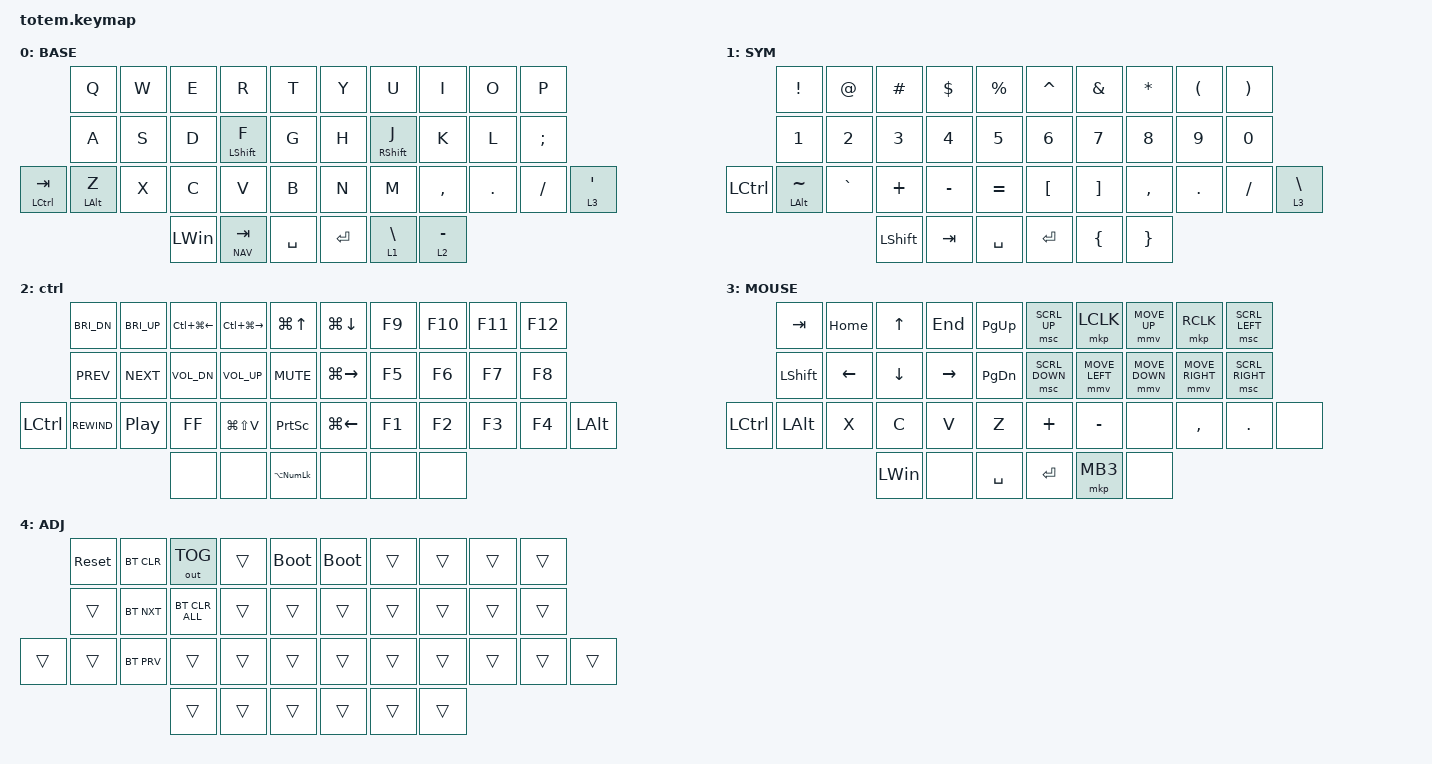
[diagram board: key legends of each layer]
//
//                                                        ▀▀▀▀▀     ▀▀▀▀▀          ▀▀█▀▀
//                                                        ▄▀▀▀▄  ▄  ▄▀▀▀▄  ▄  ▄▀▀▀▄  █  ▄▀▀▀▄
//                                                        █   █  █  █   █  █  █   █  █  █   █
//                                                         ▀▀▀   █   ▀▀▀   █   ▀▀▀   ▀   ▀▀▀
//                                                               █      ▄▄▄█▄▄▄    █   █
//                                                               ▀      █  █  █     █▄█
//                                                             ▀▀▀▀▀    █  █  █      ▀
//                                                                      ▀  ▀  ▀
//
// ▄▄▄▄▄▄▄▄▄▄▄▄▄▄▄▄▄▄▄▄▄▄▄▄▄▄▄▄▄▄▄▄▄▄▄▄▄▄▄▄▄▄▄▄▄▄▄▄▄▄▄▄▄▄▄▄▄▄▄▄▄▄▄▄▄▄▄▄▄▄▄▄▄▄▄▄▄▄▄▄▄▄▄▄▄▄▄▄▄▄▄▄▄▄▄▄▄▄▄▄▄▄▄▄▄▄▄▄▄▄▄▄▄▄▄▄▄▄▄▄▄▄▄▄▄▄▄▄▄▄▄▄▄▄▄▄▄▄▄▄▄▄▄▄▄▄▄▄▄

#include <behaviors.dtsi>
#include <dt-bindings/zmk/bt.h>
#include <dt-bindings/zmk/keys.h>
#include <dt-bindings/zmk/outputs.h>
#include <dt-bindings/zmk/pointing.h>

#define BASE  0
#define NAV   1
#define SYM   2
#define MOUSE 3
#define ADJ   4

&mt {
    quick-tap-ms = <100>;
    global-quick-tap;
    flavor = "tap-preferred";
    tapping-term-ms = <170>;
};

/ {
    combos {
        compatible = "zmk,combos";

        combo_esc {
            timeout-ms = <50>;
            key-positions = <0 1>;
            bindings = <&kp ESC>;
        };

        combo_mouse {
            timeout-ms = <50>;
            key-positions = <11 12 13>;
            bindings = <&tog MOUSE>;
        };

        bcsp {
            bindings = <&kp BACKSPACE>;
            key-positions = <7 8>;
        };

        del {
            bindings = <&kp DELETE>;
            key-positions = <1 2>;
        };

        caps {
            bindings = <&kp CAPS>;
            key-positions = <30 31>;
        };

        boot_layer {
            bindings = <&sl 4>;
            key-positions = <13 24 28 17>;
        };

        Delete {
            bindings = <&kp DEL>;
            key-positions = <2 3>;
        };

        Alt_F4 {
            bindings = <&kp LA(F4)>;
            key-positions = <7 27>;
        };

        symbol_layer {
            bindings = <&tog 1>;
            key-positions = <16 17 18>;
        };

        open_wt {
            bindings = <&kp LG(NUMBER_1)>;
            key-positions = <22 23>;
        };
    };

    keymap {
        compatible = "zmk,keymap";

        // ▄▄▄▄▄▄▄▄▄▄▄▄▄▄▄▄▄▄▄▄▄▄▄▄▄▄▄▄▄▄▄▄▄▄▄▄▄▄▄▄▄▄▄▄▄▄▄▄▄▄▄▄▄▄▄▄▄▄▄▄▄▄▄▄▄▄▄▄▄▄▄▄▄▄▄▄▄▄▄▄▄▄▄▄▄▄▄▄▄▄▄▄▄▄▄▄▄▄▄▄▄▄▄▄▄▄▄▄▄▄▄▄▄▄▄▄▄▄▄▄▄▄▄▄▄▄▄▄▄▄▄▄▄▄▄▄▄▄▄▄▄▄▄▄▄▄▄▄▄

        base_layer {
            // ┏━━━━━━━━━━━━━━━━━━━━━━━━━━━━━━━━━━━━━━━┓

            label = "BASE";

            // ┗━━━━━━━━━━━━━━━━━━━━━━━━━━━━━━━━━━━━━━━┛
            //             ┏━━━━━━━━━━━┳━━━━━━━━━━━┳━━━━━━━━━━━┳━━━━━━━━━━━┳━━━━━━━━━━━┓   ┏━━━━━━━━━━━┳━━━━━━━━━━━┳━━━━━━━━━━━┳━━━━━━━━━━━┳━━━━━━━━━━━┓
            //             ┃     Q     ┃     W     ┃     E     ┃     R     ┃     T     ┃   ┃     Y     ┃     U     ┃     I     ┃     O     ┃     P     ┃
            //             ┣━━━━━━━━━━━╋━━━━━━━━━━━╋━━━━━━━━━━━╋━━━━━━━━━━━╋━━━━━━━━━━━┫   ┣━━━━━━━━━━━╋━━━━━━━━━━━╋━━━━━━━━━━━╋━━━━━━━━━━━╋━━━━━━━━━━━┫
            //             ┃     A     ┃     S     ┃     D     ┃  SHFT/F   ┃     G     ┃   ┃     H     ┃  SHFT/J   ┃     K     ┃     L     ┃     ;     ┃
            // ┏━━━━━━━━━━━╋━━━━━━━━━━━╋━━━━━━━━━━━╋━━━━━━━━━━━╋━━━━━━━━━━━╋━━━━━━━━━━━┫   ┣━━━━━━━━━━━╋━━━━━━━━━━━╋━━━━━━━━━━━╋━━━━━━━━━━━╋━━━━━━━━━━━╋━━━━━━━━━━━┓
            // ┃ CTRL / ~  ┃  WIN / Z  ┃     X     ┃     C     ┃     V     ┃     B     ┃   ┃     N     ┃     M     ┃     ,     ┃     .     ┃     /     ┃ SHFT / \  ┃
            // ┗━━━━━━━━━━━┻━━━━━━━━━━━┻━━━━━━━━━━━╋━━━━━━━━━━━╋━━━━━━━━━━━╋━━━━━━━━━━━┫   ┣━━━━━━━━━━━╋━━━━━━━━━━━╋━━━━━━━━━━━╋━━━━━━━━━━━┻━━━━━━━━━━━┻━━━━━━━━━━━┛
            //                                     ┃    DEL    ┃  NAV/TAB  ┃    SPC    ┃   ┃   ENTER   ┃  SYM/ESC  ┃   BSPC    ┃
            //                                     ┗━━━━━━━━━━━┻━━━━━━━━━━━┻━━━━━━━━━━━┛   ┗━━━━━━━━━━━┻━━━━━━━━━━━┻━━━━━━━━━━━┛

            bindings = <
                      &kp Q           &kp W  &kp E         &kp R             &kp T        &kp Y    &kp U              &kp I        &kp O    &kp P
                      &kp A           &kp S  &kp D         &mt LEFT_SHIFT F  &kp G        &kp H    &mt RIGHT_SHIFT J  &kp K        &kp L    &kp SEMI
&mt LEFT_CONTROL TAB  &mt LEFT_ALT Z  &kp X  &kp C         &kp V             &kp B        &kp N    &kp M              &kp COMMA    &kp DOT  &kp FSLH  &lt 3 SQT
                                             &kp LEFT_WIN  &lt NAV TAB       &kp SPACE    &kp RET  &lt 1 BACKSLASH    &lt 2 MINUS
            >;
        };

        // ▄▄▄▄▄▄▄▄▄▄▄▄▄▄▄▄▄▄▄▄▄▄▄▄▄▄▄▄▄▄▄▄▄▄▄▄▄▄▄▄▄▄▄▄▄▄▄▄▄▄▄▄▄▄▄▄▄▄▄▄▄▄▄▄▄▄▄▄▄▄▄▄▄▄▄▄▄▄▄▄▄▄▄▄▄▄▄▄▄▄▄▄▄▄▄▄▄▄▄▄▄▄▄▄▄▄▄▄▄▄▄▄▄▄▄▄▄▄▄▄▄▄▄▄▄▄▄▄▄▄▄▄▄▄▄▄▄▄▄▄▄▄▄▄▄▄▄▄▄

        symbols {
            // ┏━━━━━━━━━━━━━━━━━━━━━━━━━━━━━━━━━━━━━━━┓

            label = "SYM";

            // ┗━━━━━━━━━━━━━━━━━━━━━━━━━━━━━━━━━━━━━━━┛
            //             ┏━━━━━━━━━━━┳━━━━━━━━━━━┳━━━━━━━━━━━┳━━━━━━━━━━━┳━━━━━━━━━━━┓   ┏━━━━━━━━━━━┳━━━━━━━━━━━┳━━━━━━━━━━━┳━━━━━━━━━━━┳━━━━━━━━━━━┓
            //             ┃     !     ┃     @     ┃     #     ┃     $     ┃     {     ┃   ┃     }     ┃     7     ┃     8     ┃     9     ┃     *     ┃
            //             ┣━━━━━━━━━━━╋━━━━━━━━━━━╋━━━━━━━━━━━╋━━━━━━━━━━━╋━━━━━━━━━━━┫   ┣━━━━━━━━━━━╋━━━━━━━━━━━╋━━━━━━━━━━━╋━━━━━━━━━━━╋━━━━━━━━━━━┫
            //             ┃     %     ┃     ^     ┃     &     ┃     _     ┃     (     ┃   ┃     )     ┃     4     ┃     5     ┃     6     ┃     -     ┃
            // ┏━━━━━━━━━━━╋━━━━━━━━━━━╋━━━━━━━━━━━╋━━━━━━━━━━━╋━━━━━━━━━━━╋━━━━━━━━━━━┫   ┣━━━━━━━━━━━╋━━━━━━━━━━━╋━━━━━━━━━━━╋━━━━━━━━━━━╋━━━━━━━━━━━╋━━━━━━━━━━━┓
            // ┃           ┃     \     ┃     |     ┃     `     ┃     ~     ┃     [     ┃   ┃     ]     ┃     1     ┃     2     ┃     3     ┃     +     ┃           ┃
            // ┗━━━━━━━━━━━┻━━━━━━━━━━━┻━━━━━━━━━━━╋━━━━━━━━━━━╋━━━━━━━━━━━╋━━━━━━━━━━━┫   ┣━━━━━━━━━━━╋━━━━━━━━━━━╋━━━━━━━━━━━╋━━━━━━━━━━━┻━━━━━━━━━━━┻━━━━━━━━━━━┛
            //                                     ┃           ┃  [HOLD]   ┃           ┃   ┃  mo ADJ   ┃     0     ┃     .     ┃
            //                                     ┗━━━━━━━━━━━┻━━━━━━━━━━━┻━━━━━━━━━━━┛   ┗━━━━━━━━━━━┻━━━━━━━━━━━┻━━━━━━━━━━━┛

            bindings = <
                  &kp EXCLAMATION     &kp AT_SIGN   &kp HASH        &kp DLLR      &kp PERCENT    &kp CARET         &kp AMPERSAND      &kp ASTERISK     &kp LEFT_PARENTHESIS  &kp RIGHT_PARENTHESIS
                  &kp NUMBER_1        &kp NUMBER_2  &kp NUMBER_3    &kp NUMBER_4  &kp N5         &kp NUMBER_6      &kp N7             &kp N8           &kp N9                &kp N0
&kp LEFT_CONTROL  &mt LEFT_ALT TILDE  &kp GRAVE     &kp PLUS        &kp MINUS     &kp EQUAL      &kp LEFT_BRACKET  &kp RIGHT_BRACKET  &kp COMMA        &kp PERIOD            &kp SLASH              &lt 3 BACKSLASH
                                                    &kp LEFT_SHIFT  &kp TAB       &kp SPACE      &kp ENTER         &kp LEFT_BRACE     &kp RIGHT_BRACE
            >;
        };

        // ▄▄▄▄▄▄▄▄▄▄▄▄▄▄▄▄▄▄▄▄▄▄▄▄▄▄▄▄▄▄▄▄▄▄▄▄▄▄▄▄▄▄▄▄▄▄▄▄▄▄▄▄▄▄▄▄▄▄▄▄▄▄▄▄▄▄▄▄▄▄▄▄▄▄▄▄▄▄▄▄▄▄▄▄▄▄▄▄▄▄▄▄▄▄▄▄▄▄▄▄▄▄▄▄▄▄▄▄▄▄▄▄▄▄▄▄▄▄▄▄▄▄▄▄▄▄▄▄▄▄▄▄▄▄▄▄▄▄▄▄▄▄▄▄▄▄▄▄▄

        controls {
            // ┏━━━━━━━━━━━━━━━━━━━━━━━━━━━━━━━━━━━━━━━┓

            label = "ctrl";

            // ┗━━━━━━━━━━━━━━━━━━━━━━━━━━━━━━━━━━━━━━━┛
            //             ┏━━━━━━━━━━━┳━━━━━━━━━━━┳━━━━━━━━━━━┳━━━━━━━━━━━┳━━━━━━━━━━━┓   ┏━━━━━━━━━━━┳━━━━━━━━━━━┳━━━━━━━━━━━┳━━━━━━━━━━━┳━━━━━━━━━━━┓
            //             ┃  BRI UP   ┃  BRI DN   ┃           ┃           ┃           ┃   ┃           ┃    F7     ┃    F8     ┃    F9     ┃    F12    ┃
            //             ┣━━━━━━━━━━━╋━━━━━━━━━━━╋━━━━━━━━━━━╋━━━━━━━━━━━╋━━━━━━━━━━━┫   ┣━━━━━━━━━━━╋━━━━━━━━━━━╋━━━━━━━━━━━╋━━━━━━━━━━━╋━━━━━━━━━━━┫
            //             ┃  VOL UP   ┃  VOL DN   ┃   MUTE    ┃           ┃           ┃   ┃           ┃    F4     ┃    F5     ┃    F6     ┃    F11    ┃
            // ┏━━━━━━━━━━━╋━━━━━━━━━━━╋━━━━━━━━━━━╋━━━━━━━━━━━╋━━━━━━━━━━━╋━━━━━━━━━━━┫   ┣━━━━━━━━━━━╋━━━━━━━━━━━╋━━━━━━━━━━━╋━━━━━━━━━━━╋━━━━━━━━━━━╋━━━━━━━━━━━┓
            // ┃           ┃   PREV    ┃ PLAY/PAUSE┃   NEXT    ┃           ┃           ┃   ┃           ┃    F1     ┃    F2     ┃    F3     ┃    F10    ┃           ┃
            // ┗━━━━━━━━━━━┻━━━━━━━━━━━┻━━━━━━━━━━━╋━━━━━━━━━━━╋━━━━━━━━━━━╋━━━━━━━━━━━┫   ┣━━━━━━━━━━━╋━━━━━━━━━━━╋━━━━━━━━━━━╋━━━━━━━━━━━┻━━━━━━━━━━━┻━━━━━━━━━━━┛
            //                                     ┃           ┃           ┃           ┃   ┃           ┃  [HOLD]   ┃           ┃
            //                                     ┗━━━━━━━━━━━┻━━━━━━━━━━━┻━━━━━━━━━━━┛   ┗━━━━━━━━━━━┻━━━━━━━━━━━┻━━━━━━━━━━━┛

            bindings = <
                  &kp C_BRI_DN  &kp C_BRI_UP  &kp LC(LG(LEFT_ARROW))  &kp LC(LG(RIGHT))  &kp LG(UP_ARROW)    &kp LG(DOWN)   &kp F9  &kp F10  &kp F11  &kp F12
                  &kp C_PREV    &kp C_NEXT    &kp C_VOL_DN            &kp C_VOL_UP       &kp C_MUTE          &kp LG(RIGHT)  &kp F5  &kp F6   &kp F7   &kp F8
&kp LEFT_CONTROL  &kp C_REWIND  &kp C_PP      &kp C_FF                &kp LG(LS(V))      &kp PRINTSCREEN     &kp LG(LEFT)   &kp F1  &kp F2   &kp F3   &kp F4   &kp LEFT_ALT
                                              &none                   &none              &kp LA(KP_NUM)      &none          &none   &none
            >;
        };

        // ▄▄▄▄▄▄▄▄▄▄▄▄▄▄▄▄▄▄▄▄▄▄▄▄▄▄▄▄▄▄▄▄▄▄▄▄▄▄▄▄▄▄▄▄▄▄▄▄▄▄▄▄▄▄▄▄▄▄▄▄▄▄▄▄▄▄▄▄▄▄▄▄▄▄▄▄▄▄▄▄▄▄▄▄▄▄▄▄▄▄▄▄▄▄▄▄▄▄▄▄▄▄▄▄▄▄▄▄▄▄▄▄▄▄▄▄▄▄▄▄▄▄▄▄▄▄▄▄▄▄▄▄▄▄▄▄▄▄▄▄▄▄▄▄▄▄▄▄▄

        mouse_layer {
            // ┏━━━━━━━━━━━━━━━━━━━━━━━━━━━━━━━━━━━━━━━┓

            label = "MOUSE";

            // ┗━━━━━━━━━━━━━━━━━━━━━━━━━━━━━━━━━━━━━━━┛
            // Toggle on/off with S+D+F combo
            //             ┏━━━━━━━━━━━┳━━━━━━━━━━━┳━━━━━━━━━━━┳━━━━━━━━━━━┳━━━━━━━━━━━┓   ┏━━━━━━━━━━━┳━━━━━━━━━━━┳━━━━━━━━━━━┳━━━━━━━━━━━┳━━━━━━━━━━━┓
            //             ┃           ┃  PG_UP    ┃    UP     ┃  PG_DN    ┃           ┃   ┃           ┃           ┃   MS UP   ┃           ┃           ┃
            //             ┣━━━━━━━━━━━╋━━━━━━━━━━━╋━━━━━━━━━━━╋━━━━━━━━━━━╋━━━━━━━━━━━┫   ┣━━━━━━━━━━━╋━━━━━━━━━━━╋━━━━━━━━━━━╋━━━━━━━━━━━╋━━━━━━━━━━━┫
            //             ┃   SHIFT   ┃   LEFT    ┃   DOWN    ┃   RIGHT   ┃           ┃   ┃           ┃  MS LEFT  ┃  MS DOWN  ┃  MS RIGHT ┃           ┃
            // ┏━━━━━━━━━━━╋━━━━━━━━━━━╋━━━━━━━━━━━╋━━━━━━━━━━━╋━━━━━━━━━━━╋━━━━━━━━━━━┫   ┣━━━━━━━━━━━╋━━━━━━━━━━━╋━━━━━━━━━━━╋━━━━━━━━━━━╋━━━━━━━━━━━╋━━━━━━━━━━━┓
            // ┃           ┃   CTRL    ┃    ALT    ┃  SCRL UP  ┃ SCRL DOWN ┃           ┃   ┃           ┃           ┃           ┃           ┃           ┃           ┃
            // ┗━━━━━━━━━━━┻━━━━━━━━━━━┻━━━━━━━━━━━╋━━━━━━━━━━━╋━━━━━━━━━━━╋━━━━━━━━━━━┫   ┣━━━━━━━━━━━╋━━━━━━━━━━━╋━━━━━━━━━━━╋━━━━━━━━━━━┻━━━━━━━━━━━┻━━━━━━━━━━━┛
            //                                     ┃ tog MOUSE ┃           ┃   SPACE   ┃   ┃  L CLICK  ┃  R CLICK  ┃  M CLICK  ┃
            //                                     ┗━━━━━━━━━━━┻━━━━━━━━━━━┻━━━━━━━━━━━┛   ┗━━━━━━━━━━━┻━━━━━━━━━━━┻━━━━━━━━━━━┛

            bindings = <
           &kp TAB       &kp HOME  &kp UP        &kp END    &kp PG_UP        &msc SCRL_UP    &mkp LCLK       &mmv MOVE_UP    &mkp RCLK        &msc SCRL_LEFT
           &kp LSHFT     &kp LEFT  &kp DOWN      &kp RIGHT  &kp PAGE_DOWN    &msc SCRL_DOWN  &mmv MOVE_LEFT  &mmv MOVE_DOWN  &mmv MOVE_RIGHT  &msc SCRL_RIGHT
&kp LCTRL  &kp LEFT_ALT  &kp X     &kp C         &kp V      &kp Z            &kp PLUS        &kp MINUS       &none           &kp COMMA        &kp PERIOD       &none
                                   &kp LEFT_WIN  &none      &kp SPACE        &kp RET         &mkp MB3        &none
            >;
        };

        // ▄▄▄▄▄▄▄▄▄▄▄▄▄▄▄▄▄▄▄▄▄▄▄▄▄▄▄▄▄▄▄▄▄▄▄▄▄▄▄▄▄▄▄▄▄▄▄▄▄▄▄▄▄▄▄▄▄▄▄▄▄▄▄▄▄▄▄▄▄▄▄▄▄▄▄▄▄▄▄▄▄▄▄▄▄▄▄▄▄▄▄▄▄▄▄▄▄▄▄▄▄▄▄▄▄▄▄▄▄▄▄▄▄▄▄▄▄▄▄▄▄▄▄▄▄▄▄▄▄▄▄▄▄▄▄▄▄▄▄▄▄▄▄▄▄▄▄▄▄

        adjust_layer {
            // ┏━━━━━━━━━━━━━━━━━━━━━━━━━━━━━━━━━━━━━━━┓

            label = "ADJ";

            // ┗━━━━━━━━━━━━━━━━━━━━━━━━━━━━━━━━━━━━━━━┛
            //             ┏━━━━━━━━━━━┳━━━━━━━━━━━┳━━━━━━━━━━━┳━━━━━━━━━━━┳━━━━━━━━━━━┓   ┏━━━━━━━━━━━┳━━━━━━━━━━━┳━━━━━━━━━━━┳━━━━━━━━━━━┳━━━━━━━━━━━┓
            //             ┃   RESET   ┃ BT CLEAR  ┃  OUT TOG  ┃           ┃           ┃   ┃           ┃           ┃           ┃           ┃           ┃
            //             ┣━━━━━━━━━━━╋━━━━━━━━━━━╋━━━━━━━━━━━╋━━━━━━━━━━━╋━━━━━━━━━━━┫   ┣━━━━━━━━━━━╋━━━━━━━━━━━╋━━━━━━━━━━━╋━━━━━━━━━━━╋━━━━━━━━━━━┫
            //             ┃ BOOTLOAD  ┃ BT NEXT   ┃           ┃           ┃           ┃   ┃           ┃           ┃           ┃           ┃           ┃
            // ┏━━━━━━━━━━━╋━━━━━━━━━━━╋━━━━━━━━━━━╋━━━━━━━━━━━╋━━━━━━━━━━━╋━━━━━━━━━━━┫   ┣━━━━━━━━━━━╋━━━━━━━━━━━╋━━━━━━━━━━━╋━━━━━━━━━━━╋━━━━━━━━━━━╋━━━━━━━━━━━┓
            // ┃           ┃           ┃ BT PREV   ┃           ┃           ┃           ┃   ┃           ┃           ┃           ┃           ┃           ┃           ┃
            // ┗━━━━━━━━━━━┻━━━━━━━━━━━┻━━━━━━━━━━━╋━━━━━━━━━━━╋━━━━━━━━━━━╋━━━━━━━━━━━┫   ┣━━━━━━━━━━━╋━━━━━━━━━━━╋━━━━━━━━━━━╋━━━━━━━━━━━┻━━━━━━━━━━━┻━━━━━━━━━━━┛
            //                                     ┃           ┃           ┃           ┃   ┃  [HOLD]   ┃           ┃           ┃
            //                                     ┗━━━━━━━━━━━┻━━━━━━━━━━━┻━━━━━━━━━━━┛   ┗━━━━━━━━━━━┻━━━━━━━━━━━┻━━━━━━━━━━━┛

            bindings = <
        &sys_reset  &bt BT_CLR  &out OUT_TOG    &trans  &bootloader    &bootloader  &trans  &trans  &trans  &trans
        &trans      &bt BT_NXT  &bt BT_CLR_ALL  &trans  &trans         &trans       &trans  &trans  &trans  &trans
&trans  &trans      &bt BT_PRV  &trans          &trans  &trans         &trans       &trans  &trans  &trans  &trans  &trans
                                &trans          &trans  &trans         &trans       &trans  &trans
            >;
        };
    };
};
